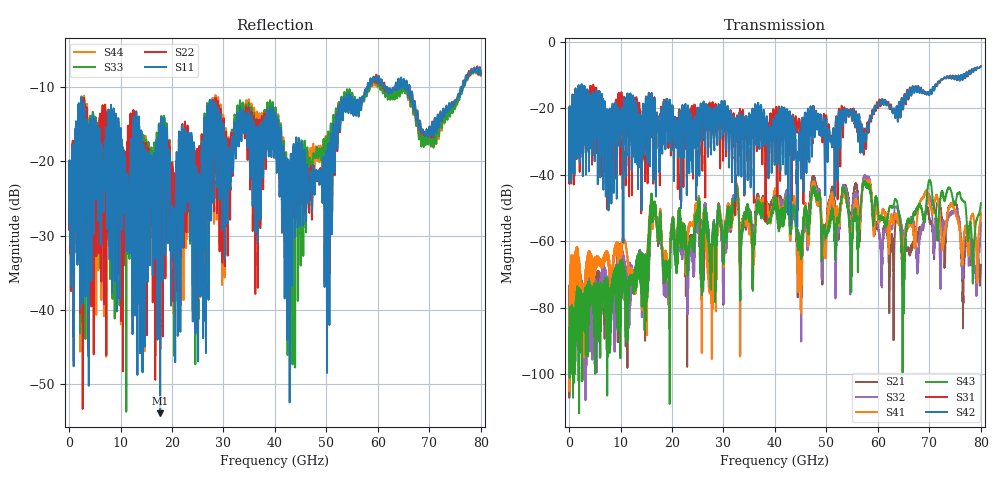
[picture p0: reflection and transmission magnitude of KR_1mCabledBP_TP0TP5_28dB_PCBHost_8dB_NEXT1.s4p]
!! Reference: shanbhag_3dj_02_2305.pdf
!! CHANNEL DESCRIPTION: TP0_TP5 KR Channel using 1meter Cabled BP, PCB Host
!! CABLE DESCRIPTION: 1meter 26AWG Cable
!! MODEL STATUS: Developmental
!! PORT DEFINITIONS:
!! Port  1  ----->  Side A  Side B  <-----  Port  2
!! Port  3  ----->  Side A  Side B  <-----  Port  4
# HZ S MA R 50.000000
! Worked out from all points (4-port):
!   8000 points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, 10 MHz to 80 GHz, reference 50 ohm
!   strongest paths, dB at 10 MHz, 20.01 GHz, 40.01 GHz, 60.01 GHz, 80 GHz:
!     S42: -27.2, -22.7, -31.4, -18.9, -7.4
!     S31: -27.1, -22.2, -28.4, -20.0, -7.3
!     S43: -95.9, -57.6, -47.1, -49.5, -48.5
!     S41: -88.9, -56.5, -45.0, -51.4, -51.7
!     S32: -105.1, -58.1, -47.5, -52.8, -54.5
!     S21: -90.3, -57.5, -46.0, -56.0, -67.1
!   lowest |S11| = -53.9 dB at 17.7 GHz (marker M1), VSWR 1.00, Z = 50.1 + j0.157 ohm
!   |S11| at or under -10 dB: start of sweep to 57.94 GHz; 61.38 GHz to 63.39 GHz (2.017 GHz wide, 3.23 % of centre); 66.14 GHz to 76.44 GHz (10.3 GHz wide, 14.4 % of centre) (the widest 3 of 10)
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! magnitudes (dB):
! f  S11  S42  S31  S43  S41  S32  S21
! 10 MHz  -23.8  -27.2  -27.1  -95.9  -88.9  -105.1  -90.3
! 17.7 GHz  -53.9  -26.2  -27.3  -52.7  -52.0  -53.4  -53.7
! 40.17 GHz  -14.2  -23.3  -19.9  -47.0  -44.5  -47.0  -44.9
! 44.8 GHz  -19.6  -27.0  -25.0  -61.8  -70.8  -61.2  -64.9
! 57.99 GHz  -9.7  -25.3  -24.3  -42.8  -41.9  -40.6  -41.6
! 64.95 GHz  -9.1  -18.8  -19.3  -76.4  -62.1  -64.3  -59.7
! 80 GHz  -8.3  -7.4  -7.3  -48.5  -51.7  -54.5  -67.1
